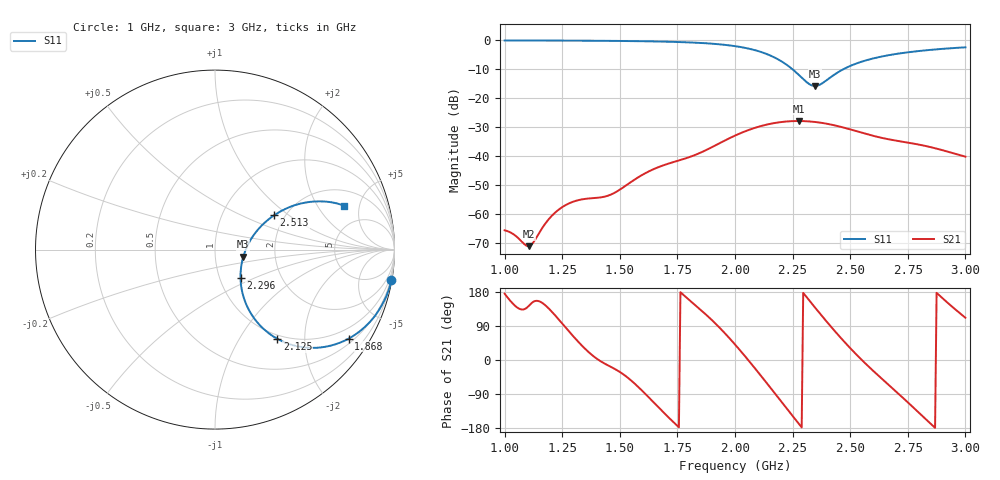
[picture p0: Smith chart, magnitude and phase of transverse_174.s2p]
! TOUCHSTONE file generated by CST MICROWAVE STUDIO
! Date and time: Tue Mar 11 13:57:22 2025
! Project name: transverse.cst
! Parameters = {Fracture=5; B=10; D=160; F=25; Feed=2.85625; L=100; M=20; R=0.384908; S=1; Theta=180; length=57.125; wave=114.25}
! Header version: 2024
! Port assignment regex: !\s*Touchstone port\s*([0-9]+)\s*=\s*(CST MWS port|CST DES external port|CST DES block port)\s*(.+)\s* \(\"(.*)\"\)(\s*mode\s*([0-9]+))?.*
! Touchstone port assignment:
! Touchstone port 1 = CST MWS port 1 ("")
! Touchstone port 2 = CST MWS port 2 ("")
# GHz S MA R 50
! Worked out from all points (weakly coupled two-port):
!   305 points, 1 GHz to 3 GHz, reference 50 ohm
!   highest |S21| = -27.90 dB at 2.276 GHz (marker M1); lowest = -71.2 dB at 1.105 GHz (marker M2)
!   lowest |S11| = -15.8 dB at 2.349 GHz (marker M3), VSWR 1.39, Z = 68.4 - j5.63 ohm
!   |S11| at or under -10 dB: 2.25 GHz to 2.47 GHz (220.2 MHz wide, 9.33 % of centre)
!   S12 and S22 are empty: the file has one direction only
!   S11 on the Smith chart (normalised r, x): 1 GHz: 0, -12; 1.868 GHz: 0.64, -3.19; 2.125 GHz: 0.94, -1.48; 2.296 GHz: 1.25, -0.42; 2.513 GHz: 1.76, +0.78; 3 GHz: 3.05, +3.51
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1  0.9976 -9.8  0.0005166 175.1  0 0.0  0 0.0
1.03947  0.9972 -10.3  0.0004394 146.5  0 0.0  0 0.0
1.10526  0.9964 -11.2  0.0002745 143.0  0 0.0  0 0.0
1.125  0.996 -11.5  0.0003203 153.7  0 0.0  0 0.0
1.18421  0.9945 -12.5  0.0007405 140.3  0 0.0  0 0.0
1.22368  0.9933 -13.1  0.001084 114.8  0 0.0  0 0.0
1.27632  0.9916 -14.0  0.001489 77.7  0 0.0  0 0.0
1.33553  0.9893 -15.2  0.001771 38.0  0 0.0  0 0.0
1.46053  0.9812 -17.9  0.002139 -18.0  0 0.0  0 0.0
1.67105  0.9566 -24.2  0.006483 -126.9  0 0.0  0 0.0
1.86842  0.8949 -33.6  0.0123 122.9  0 0.0  0 0.0
2  0.7957 -43.3  0.02249 41.0  0 0.0  0 0.0
2.125  0.6069 -55.0  0.03393 -51.1  0 0.0  0 0.0
2.20395  0.4286 -60.5  0.03877 -111.9  0 0.0  0 0.0
2.27632  0.2541 -54.8  0.04025 -167.8  0 0.0  0 0.0
2.29605  0.2141 -48.4  0.04012 177.1  0 0.0  0 0.0
2.33553  0.1653 -24.5  0.03918 147.3  0 0.0  0 0.0
2.34868  0.1624 -14.3  0.03869 137.4  0 0.0  0 0.0
2.51316  0.38 30.1  0.02786 23.0  0 0.0  0 0.0
2.67105  0.5583 27.8  0.01928 -67.9  0 0.0  0 0.0
2.83553  0.6781 23.2  0.01463 -160.5  0 0.0  0 0.0
3  0.7586 18.8  0.009723 111.5  0 0.0  0 0.0
